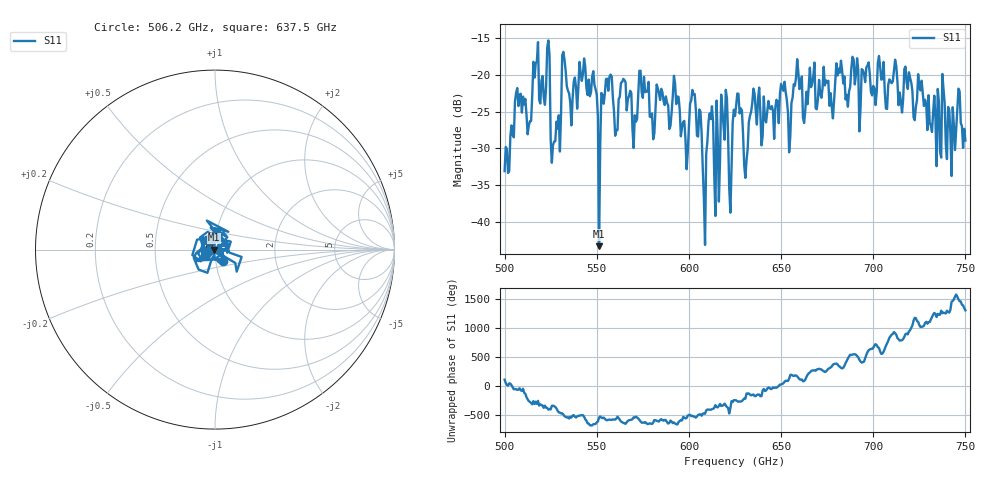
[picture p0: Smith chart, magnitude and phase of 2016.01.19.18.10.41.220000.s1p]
!Created with skrf (http://scikit-rf.org).
# GHz S RI R 50.0
!freq ReS11 ImS11
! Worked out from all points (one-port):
!   401 points, 500 GHz to 750 GHz, reference 50 ohm
!   lowest |S11| = -43.4 dB at 551.2 GHz (marker M1), VSWR 1.01, Z = 49.3 - j0.00484 ohm
!   |S11| at or under -10 dB: start of sweep to end of sweep
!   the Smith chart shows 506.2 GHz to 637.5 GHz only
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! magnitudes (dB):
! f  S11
! 500 GHz  -33.1
! 506.9 GHz  -21.8
! 513.1 GHz  -26.9
! 516.9 GHz  -18.4
! 523.1 GHz  -16.3
! 526.2 GHz  -29.6
! 531.2 GHz  -17.3
! 548.8 GHz  -21.4
! 551.2 GHz  -43.4
! 556.2 GHz  -22.1
! 560 GHz  -28.3
! 562.5 GHz  -23.0
! 570.6 GHz  -25.5
! 593.8 GHz  -22.9
! 598.8 GHz  -32.9
! 602.5 GHz  -22.6
! 608.8 GHz  -43.2
! 611.9 GHz  -26.0
! 615 GHz  -23.5
! 619.4 GHz  -28.8
! 622.5 GHz  -38.8
! 625 GHz  -25.6
! 630.6 GHz  -34.0
! 634.4 GHz  -23.8
! 656.2 GHz  -23.1
! 687.5 GHz  -21.6
! 718.8 GHz  -21.9
! 750 GHz  -28.9
